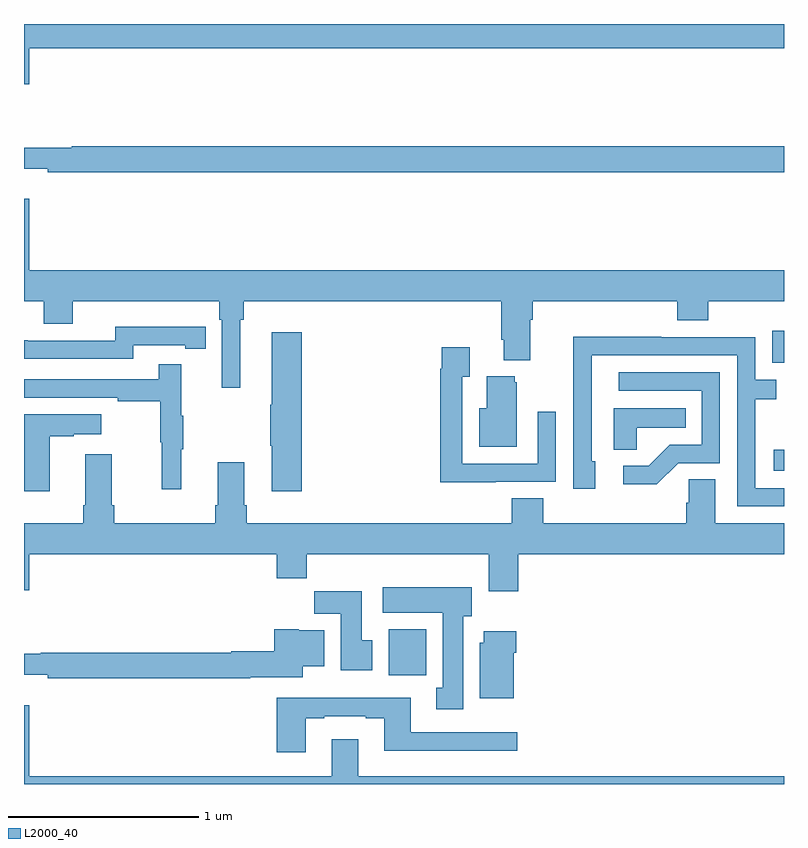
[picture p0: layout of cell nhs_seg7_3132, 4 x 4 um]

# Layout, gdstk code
import gdstk
lib = gdstk.Library(unit=1e-6, precision=1e-09)
def R(c, l, rs):  # rectangles x0, y0, x1, y1
    for r in rs: c.add(gdstk.rectangle(r[:2], r[2:], *l))
def P(c, l, *ps):  # polygons
    for p in ps: c.add(gdstk.Polygon(p, *l))
L2000_40 = (2000, 40)

nhs_seg7_3132 = lib.new_cell('nhs_seg7_3132')
R(nhs_seg7_3132, L2000_40, [(310.919,1074.572,311.116,1074.814), (312.945,1075.649,313,1075.759), (312.939,1076.217,313,1076.386)])
P(nhs_seg7_3132, L2000_40, [(309.028,1077.872),(313,1077.872),(313,1078),(309,1078),(309,1077.684),(309.028,1077.684)],
  [(313,1077.356),(309.25,1077.356),(309.25,1077.349),(309,1077.349),(309,1077.239),(309.124,1077.239),(309.124,1077.22),(313,1077.22)],
  [(309.028,1077.079),(309,1077.079),(309,1076.54),(309.104,1076.54),(309.104,1076.423),(309.256,1076.423),(309.256,1076.54),(310.028,1076.54),(310.028,1076.444),(310.041,1076.444),(310.041,1076.085),(310.138,1076.085),(310.138,1076.444),(310.157,1076.444),(310.157,1076.54),(311.513,1076.54),(311.513,1076.338),(311.525,1076.338),(311.525,1076.231),(311.665,1076.231),(311.665,1076.444),(311.678,1076.444),(311.678,1076.54),(312.437,1076.54),(312.437,1076.441),(312.602,1076.441),(312.602,1076.54),(313,1076.54),(313,1076.704),(309.028,1076.704)],
  [(309.576,1076.31),(309.848,1076.31),(309.848,1076.29),(309.956,1076.29),(309.956,1076.406),(309.848,1076.406),(309.848,1076.407),(309.48,1076.407),(309.48,1076.334),(309.02,1076.334),(309.02,1076.336),(309,1076.336),(309,1076.238),(309.576,1076.238)],
  [(310.463,1076.377),(310.304,1076.377),(310.304,1075.997),(310.297,1075.997),(310.297,1075.78),(310.304,1075.78),(310.304,1075.542),(310.463,1075.542)],
  [(313,1075.557),(312.849,1075.557),(312.849,1076.026),(312.959,1076.026),(312.959,1076.127),(312.849,1076.127),(312.849,1076.352),(312.353,1076.352),(312.353,1076.354),(311.89,1076.354),(311.89,1076.047),(311.892,1076.047),(311.892,1075.554),(312.007,1075.554),(312.007,1075.698),(311.988,1075.698),(311.988,1076.256),(312.753,1076.256),(312.753,1075.461),(313,1075.461)],
  [(311.483,1075.59),(311.799,1075.59),(311.799,1075.96),(311.703,1075.96),(311.703,1075.686),(311.307,1075.686),(311.307,1076.143),(311.347,1076.143),(311.347,1076.299),(311.199,1076.299),(311.199,1076.186),(311.191,1076.186),(311.191,1075.589),(311.483,1075.589)],
  [(309.827,1075.763),(309.838,1075.763),(309.838,1075.937),(309.827,1075.937),(309.827,1076.209),(309.709,1076.209),(309.709,1076.13),(309,1076.13),(309,1076.034),(309.493,1076.034),(309.493,1076.014),(309.717,1076.014),(309.717,1075.8),(309.724,1075.8),(309.724,1075.551),(309.827,1075.551)],
  [(312.444,1075.689),(312.663,1075.689),(312.663,1076.166),(312.129,1076.166),(312.129,1076.07),(312.567,1076.07),(312.567,1075.785),(312.398,1075.785),(312.287,1075.674),(312.153,1075.674),(312.153,1075.577),(312.331,1075.577)],
  [(311.593,1076.115),(311.582,1076.115),(311.582,1076.146),(311.435,1076.146),(311.435,1075.978),(311.396,1075.978),(311.396,1075.775),(311.593,1075.775)],
  [(312.225,1075.874),(312.482,1075.874),(312.482,1075.978),(312.104,1075.978),(312.104,1075.759),(312.225,1075.759)],
  [(309.136,1075.831),(309.263,1075.831),(309.263,1075.841),(309.406,1075.841),(309.406,1075.945),(309,1075.945),(309,1075.542),(309.136,1075.542)],
  [(311.6,1075.208),(313,1075.208),(313,1075.372),(312.637,1075.372),(312.637,1075.604),(312.498,1075.604),(312.498,1075.481),(312.485,1075.481),(312.485,1075.372),(311.732,1075.372),(311.732,1075.505),(311.567,1075.505),(311.567,1075.372),(310.172,1075.372),(310.172,1075.468),(310.159,1075.468),(310.159,1075.693),(310.019,1075.693),(310.019,1075.468),(310.007,1075.468),(310.007,1075.372),(309.476,1075.372),(309.476,1075.468),(309.463,1075.468),(309.463,1075.735),(309.323,1075.735),(309.323,1075.468),(309.311,1075.468),(309.311,1075.372),(309,1075.372),(309,1075.02),(309.028,1075.02),(309.028,1075.208),(310.331,1075.208),(310.331,1075.084),(310.487,1075.084),(310.487,1075.208),(311.447,1075.208),(311.447,1075.014),(311.6,1075.014)],
  [(311.311,1074.882),(311.356,1074.882),(311.356,1075.036),(310.887,1075.036),(310.887,1074.902),(311.204,1074.902),(311.204,1074.506),(311.171,1074.506),(311.171,1074.393),(311.311,1074.393)],
  [(310.834,1074.756),(310.777,1074.756),(310.777,1075.015),(310.528,1075.015),(310.528,1074.896),(310.667,1074.896),(310.667,1074.6),(310.834,1074.6)],
  [(310.192,1074.563),(310.468,1074.563),(310.468,1074.62),(310.579,1074.62),(310.579,1074.808),(310.446,1074.808),(310.446,1074.814),(310.316,1074.814),(310.316,1074.7),(310.092,1074.7),(310.092,1074.692),(309.088,1074.692),(309.088,1074.685),(309,1074.685),(309,1074.575),(309.124,1074.575),(309.124,1074.556),(310.192,1074.556)],
  [(311.578,1074.692),(311.591,1074.692),(311.591,1074.805),(311.42,1074.805),(311.42,1074.744),(311.399,1074.744),(311.399,1074.452),(311.578,1074.452)],
  [(310.483,1074.345),(310.579,1074.345),(310.579,1074.357),(310.799,1074.357),(310.799,1074.345),(310.895,1074.345),(310.895,1074.176),(311.596,1074.176),(311.596,1074.273),(311.035,1074.273),(311.035,1074.454),(310.331,1074.454),(310.331,1074.168),(310.483,1074.168)],
  [(313,1074.04),(310.759,1074.04),(310.759,1074.235),(310.619,1074.235),(310.619,1074.04),(309.028,1074.04),(309.028,1074.415),(309,1074.415),(309,1074),(313,1074)])

lib.write_gds('nhs_seg7_3132.gds')
